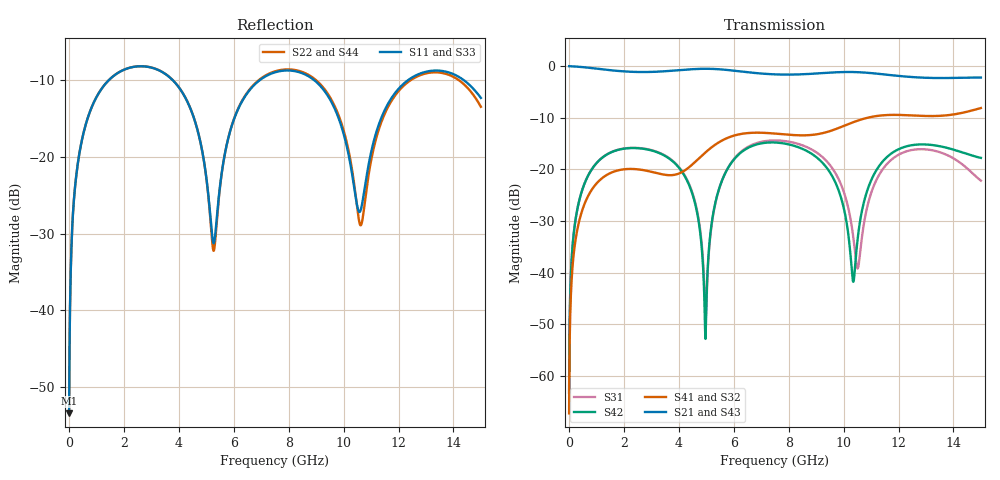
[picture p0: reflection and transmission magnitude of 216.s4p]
! Created with skrf 1.8.0 (http://scikit-rf.org).
# GHz S RI R 50.0
!freq ReS11 ImS11 ReS12 ImS12 ReS13 ImS13
! ReS14 ImS14
! ReS21 ImS21 ReS22 ImS22 ReS23 ImS23
! ReS24 ImS24
! ReS31 ImS31 ReS32 ImS32 ReS33 ImS33
! ReS34 ImS34
! ReS41 ImS41 ReS42 ImS42 ReS43 ImS43
! ReS44 ImS44
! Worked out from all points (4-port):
!   2499 points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, 5 MHz to 15 GHz, reference 50 ohm
!   strongest paths, dB at 5 MHz, 3.476 GHz, 7.19 GHz, 11.1 GHz, 15 GHz:
!     S21: 0.0, -1.0, -1.5, -1.4, -2.2
!     S43: 0.0, -1.0, -1.5, -1.4, -2.2
!     S41: -67.2, -21.0, -12.9, -9.7, -8.1
!     S32: -67.2, -21.1, -13.0, -9.8, -8.1
!     S42: -63.2, -17.3, -14.8, -21.1, -17.8
!     S31: -63.2, -17.2, -14.5, -23.2, -22.2
!   lowest |S11| = -53.4 dB at 5 MHz (marker M1), VSWR 1.00, Z = 50.2 + j0.129 ohm
!   |S11| at or under -10 dB: start of sweep to 1.442 GHz; 3.786 GHz to 6.936 GHz (3.15 GHz wide, 58.8 % of centre); 8.939 GHz to 12.34 GHz (3.397 GHz wide, 31.9 % of centre) (the widest 3 of 4)
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0.005  0.0017 0.00129  0.9983 -0.00331  8.6e-05 0.000687  -8.35e-05 -0.000429
       0.9983 -0.00331  0.0017 0.00129  -8.35e-05 -0.000429  8.6e-05 0.000687
       8.6e-05 0.000687  -8.35e-05 -0.000429  0.0017 0.00129  0.9983 -0.00331
       -8.35e-05 -0.000429  8.6e-05 0.000687  0.9983 -0.00331  0.0017 0.00129
0.3126303  0.0256 0.0846  0.965 -0.2056  0.012 0.0406  -0.00995 -0.025
           0.965 -0.2056  0.0256 0.0846  -0.00995 -0.025  0.0119 0.0406
           0.012 0.0406  -0.00995 -0.025  0.0256 0.0846  0.965 -0.2056
           -0.00995 -0.025  0.0119 0.0406  0.965 -0.2056  0.0256 0.0846
1.569404  0.2841 0.1717  0.5166 -0.7475  0.1366 0.0576  -0.0938 -0.000422
          0.5166 -0.7475  0.2847 0.1711  -0.0937 -0.000537  0.1353 0.0594
          0.1366 0.0576  -0.0937 -0.000537  0.2841 0.1716  0.5167 -0.7475
          -0.0938 -0.000422  0.1353 0.0594  0.5167 -0.7475  0.2846 0.1711
4.964569  0.0399 -0.072  -0.9083 -0.2489  -0.00364 -0.0018  -0.033 0.142
          -0.9083 -0.2489  0.0369 -0.0732  -0.0348 0.1415  -0.00226 -0.000614
          -0.00364 -0.0018  -0.0348 0.1415  0.0387 -0.0707  -0.9085 -0.2487
          -0.033 0.142  -0.00226 -0.000614  -0.9085 -0.2487  0.0373 -0.0714
8.165902  0.3633 -0.0325  -0.00836 0.8283  0.1535 -0.0978  0.2037 -0.0697
          -0.00836 0.8283  0.3691 -0.0387  0.2039 -0.0659  0.1525 -0.0758
          0.1535 -0.0978  0.2039 -0.0659  0.3649 -0.0313  -0.0095 0.8279
          0.2037 -0.0697  0.1525 -0.0758  -0.0095 0.8279  0.3693 -0.0389
10.35431  0.0513 -0.0462  0.836 0.2616  -0.0169 -0.0142  0.0744 -0.2767
          0.836 0.2616  0.0448 -0.0577  0.0805 -0.2749  0.00784 -0.00231
          -0.0169 -0.0142  0.0805 -0.2749  0.0522 -0.0443  0.8356 0.2633
          0.0744 -0.2767  0.00784 -0.00231  0.8356 0.2633  0.0434 -0.0564
15  0.2112 -0.1205  -0.5506 -0.546  -0.0735 -0.0261  -0.2775 0.2778
    -0.5506 -0.546  0.1818 -0.1105  -0.2864 0.2688  -0.1173 -0.0546
    -0.0735 -0.0261  -0.2864 0.2688  0.2196 -0.1283  -0.5414 -0.5511
    -0.2775 0.2778  -0.1173 -0.0546  -0.5414 -0.5511  0.1948 -0.1157
